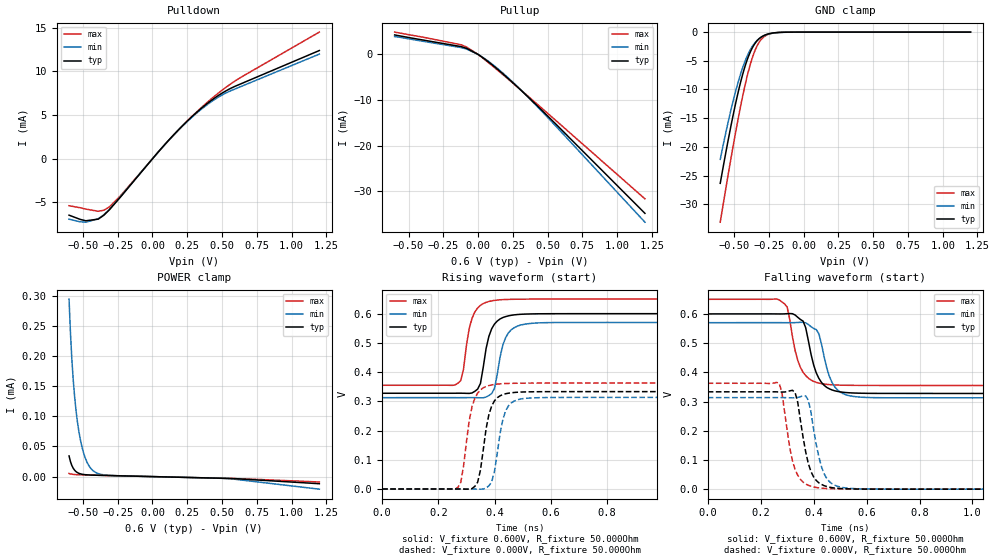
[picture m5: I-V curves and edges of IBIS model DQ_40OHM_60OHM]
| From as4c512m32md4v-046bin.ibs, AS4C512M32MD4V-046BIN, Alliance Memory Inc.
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|   MODEL: DQ_40OHM_60OHM
[Model]   DQ_40OHM_60OHM
Model_type   I/O
Polarity   Non-Inverting
Enable   Active-High
Vinl   = 0.080V
Vinh   = 0.220V
Vmeas   = 0.150V
Vref   = 0.150V
Cref   = 0.000pF
Rref   = 50.000Ohm
|   typ   min   max
C_comp   0.875pF   0.788pF   0.963pF
[Voltage Range]   0.600V   0.570V   0.650V
[Temperature Range]   25.0   95.0   -40.0
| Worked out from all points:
|   slope of the pulldown table from 0 to 0.09 V, typ, clamps not added: 54.4 ohm
|   slope of the pullup table from 0 to 0.09 V, typ, clamps not added: 44.8 ohm
|   GND clamp passes 1 mA (typ) near -0.31 V on its own axis
|   rising waveform, V_fixture 0.600V, R_fixture 50.000Ohm: 20-80 % time 35.1ps typ, 35.9ps min, 32.8ps max; typ from 0.328 V to 0.6 V
|   falling waveform, V_fixture 0.600V, R_fixture 50.000Ohm: 20-80 % time 46.7ps typ, 46.5ps min, 44.4ps max; typ from 0.6 V to 0.328 V
|   rising waveform, V_fixture 0.000V, R_fixture 50.000Ohm: 20-80 % time 33.8ps typ, 33.8ps min, 34.1ps max; typ from 0 V to 0.333 V
|   falling waveform, V_fixture 0.000V, R_fixture 50.000Ohm: 20-80 % time 42.6ps typ, 43.3ps min, 41.8ps max; typ from 0.333 V to 0 V
[Pulldown]
|   Voltage   I(typ)   I(min)   I(max)
-600mV    -6.451mA   -6.91mA    -5.37mA
-480mV    -7.091mA   -7.252mA   -5.751mA
-390mV    -6.903mA   -6.859mA   -6.003mA
-350mV    -6.461mA   -6.397mA   -5.886mA
-310mV    -5.839mA   -5.785mA   -5.511mA
-230mV    -4.373mA   -4.344mA   -4.23mA
130mV     2.356mA    2.327mA    2.329mA
270mV     4.616mA    4.546mA    4.626mA
400mV     6.396mA    6.262mA    6.534mA
490mV     7.402mA    7.198mA    7.709mA
580mV     8.186mA    7.891mA    8.746mA
1.2V      12.38mA    11.97mA    14.49mA
[Pullup]
|   Voltage   I(typ)   I(min)   I(max)
-600mV    4.267mA    3.904mA    4.889mA
-120mV    1.7mA      1.495mA    2.101mA
-80mV     1.289mA    1.134mA    1.562mA
0V        0A         0A         0A
80mV      -1.767mA   -1.632mA   -1.932mA
220mV     -5.374mA   -5.228mA   -5.492mA
410mV     -10.79mA   -10.91mA   -10.49mA
1.2V      -34.79mA   -36.73mA   -31.61mA
[GND Clamp]
|   Voltage   I(typ)   I(min)   I(max)
-600mV    -26.36mA   -22.19mA   -33.14mA
-550mV    -19.73mA   -16.43mA   -25.84mA
-510mV    -14.79mA   -12.27mA   -20.24mA
-470mV    -10.36mA   -8.615mA   -14.96mA
-430mV    -6.627mA   -5.609mA   -10.17mA
-390mV    -3.805mA   -3.349mA   -6.151mA
-360mV    -2.341mA   -2.151mA   -3.819mA
-320mV    -1.14mA    -1.122mA   -1.755mA
-280mV    -524.1uA   -555.5uA   -715.7uA
-230mV    -184.4uA   -215.6uA   -213.3uA
-140mV    -20.29uA   -29.99uA   -17.96uA
1.2V      6.836uA    7.386uA    6.714uA
[POWER Clamp]
|   Voltage   I(typ)   I(min)   I(max)
-600mV    34.27uA    294.1uA    5.169uA
-590mV    25uA       238.9uA    4.47uA
-570mV    13.84uA    160.6uA    3.674uA
-560mV    10.58uA    132.6uA    3.444uA
-540mV    6.655uA    91.24uA    3.146uA
-520mV    4.678uA    62.84uA    2.957uA
-490mV    3.339uA    35.2uA     2.748uA
-460mV    2.772uA    19.1uA     2.569uA
-420mV    2.39uA     8.47uA     2.342uA
-300mV    1.671uA    1.938uA    1.671uA
560mV     -3.13uA    -3.595uA   -3.086uA
1.2V      -11.8uA    -20.82uA   -8.926uA
[Ramp]
R_load = 50.000Ohm
|   typ   min   max
dV/dt_r   0.163V/30.000ps   0.154V/30.000ps   0.177V/30.000ps
dV/dt_f   0.163V/40.000ps   0.154V/50.000ps   0.177V/50.000ps
|Slew_r   5.447V/ns   5.148V/ns   5.900V/ns
|Slew_f   4.084V/ns   3.087V/ns   3.538V/ns
[Rising Waveform]
V_fixture = 0.600V
V_fixture_min = 0.570V
V_fixture_max = 0.650V
R_fixture = 50.000Ohm
L_fixture = 0.000nH
C_fixture = 0.000pF
|dV/dt_r   0.163V/30.000ps   0.154V/30.000ps   0.177V/30.000ps
|Slew_r   5.447V/ns   5.148V/ns   5.900V/ns
|   Time   V(typ)   V(min)   V(max)
0s        327.6mV    312.6mV    355mV
270ps     327.8mV    312.6mV    362.2mV
330ps     334.4mV    312.7mV    606mV
350ps     361.3mV    312.2mV    628.5mV
380ps     522.5mV    319.9mV    641.7mV
400ps     564.6mV    344.6mV    645.5mV
430ps     586.9mV    493.7mV    648.1mV
480ps     596.9mV    556.8mV    649.5mV
590ps     599.8mV    569.4mV    649.9mV
5ns       600mV      570mV      650mV
[Falling Waveform]
V_fixture = 0.600V
V_fixture_min = 0.570V
V_fixture_max = 0.650V
R_fixture = 50.000Ohm
L_fixture = 0.000nH
C_fixture = 0.000pF
|dV/dt_f   0.163V/40.000ps   0.154V/50.000ps   0.177V/50.000ps
|Slew_f   4.084V/ns   3.087V/ns   3.538V/ns
|   Time   V(typ)   V(min)   V(max)
0s        599.9mV    569.9mV    649.9mV
270ps     599.8mV    570mV      648.1mV
300ps     600.7mV    569.8mV    623.4mV
330ps     596.2mV    570.1mV    474.9mV
370ps     552.8mV    569.4mV    388.9mV
410ps     398mV      546.5mV    365.6mV
470ps     339.4mV    364.4mV    357.2mV
520ps     330.9mV    323.7mV    355.7mV
650ps     327.8mV    313mV      355.1mV
5ns       327.7mV    312.6mV    355mV
[Rising Waveform]
V_fixture = 0.000V
V_fixture_min = 0.000V
V_fixture_max = 0.000V
R_fixture = 50.000Ohm
L_fixture = 0.000nH
C_fixture = 0.000pF
|dV/dt_r   0.200V/30.000ps   0.188V/30.000ps   0.218V/40.000ps
|Slew_r   6.665V/ns   6.268V/ns   5.438V/ns
|   Time   V(typ)   V(min)   V(max)
0s        4.916uV    14.6uV     2.082uV
270ps     121.8uV    13.66uV    5.802mV
280ps     66.24uV    18.03uV    22.9mV
320ps     1.486mV    47.6uV     281.9mV
340ps     23.2mV     -451.5uV   328.2mV
390ps     284.3mV    24.19mV    356.3mV
420ps     319mV      190.8mV    359.9mV
460ps     329.3mV    294.8mV    361.6mV
550ps     332.9mV    312.3mV    362.4mV
5ns       333.3mV    313.4mV    362.5mV
[Falling Waveform]
V_fixture = 0.000V
V_fixture_min = 0.000V
V_fixture_max = 0.000V
R_fixture = 50.000Ohm
L_fixture = 0.000nH
C_fixture = 0.000pF
|dV/dt_f   0.200V/40.000ps   0.188V/40.000ps   0.217V/40.000ps
|Slew_f   4.998V/ns   4.700V/ns   5.437V/ns
|   Time   V(typ)   V(min)   V(max)
0s        333.2mV    313.4mV    362.5mV
270ps     332.8mV    313.5mV    362mV
320ps     338.4mV    312.6mV    97.39mV
340ps     297.5mV    314.1mV    47.43mV
380ps     87.53mV    304.6mV    13.29mV
420ps     21.39mV    110.2mV    4.358mV
440ps     11.9mV     52.02mV    2.651mV
490ps     3.129mV    9.992mV    952.3uV
620ps     195.7uV    378.8uV    162.5uV
5ns       5.47uV     15.12uV    2.648uV
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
